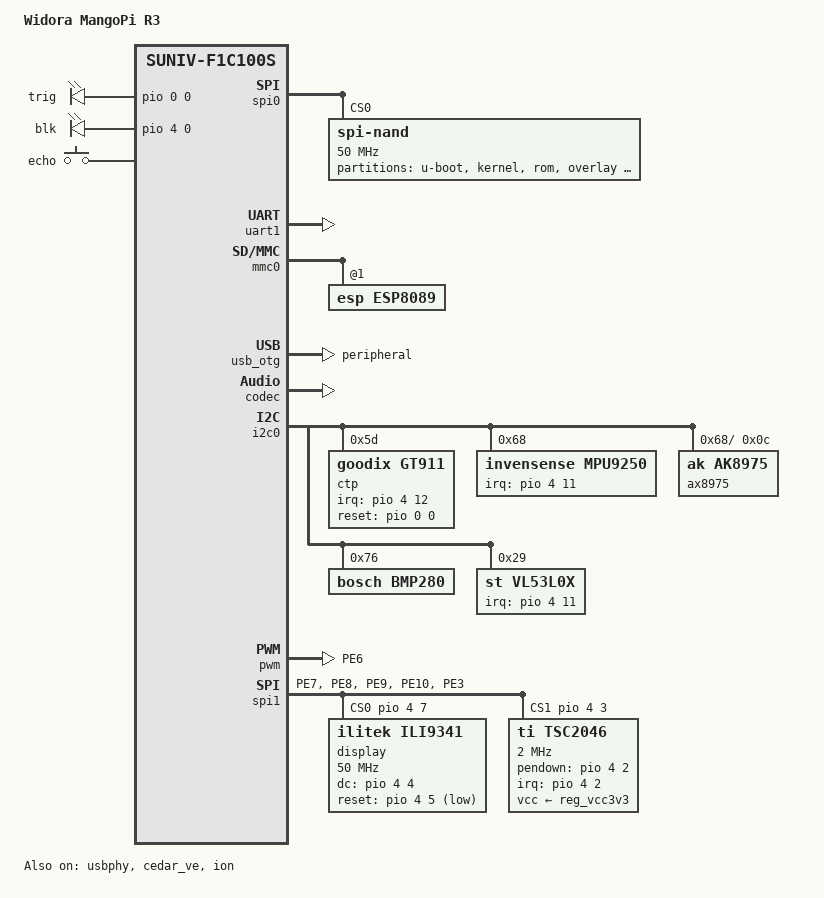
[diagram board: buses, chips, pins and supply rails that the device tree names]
// SPDX-License-Identifier: (GPL-2.0+ OR X11)

/dts-v1/;
#include "suniv-f1c100s.dtsi"

/ {
	model = "Widora MangoPi R3";
	compatible = "allwinner,suniv-f1c200s",
			 "allwinner,suniv-f1c100s";

	chosen {
		#address-cells = <1>;
		#size-cells = <1>;
		ranges;

		bootargs = "console=ttyS0,115200 rootwait init=/preinit root=/dev/mtdblock2 rootfstype=squashfs overlayfsdev=/dev/mtdblock3";
/*
		simplefb_lcd: framebuffer-lcd0 {
			compatible = "allwinner,simple-framebuffer",
				     "simple-framebuffer";
			allwinner,pipeline = "de_be0-lcd0";
			clocks = <&ccu CLK_BUS_DE_BE>, <&ccu CLK_DE_BE>,
				 <&ccu CLK_DRAM_DE_BE>, <&ccu CLK_BUS_LCD>,
				 <&ccu CLK_TCON>;
			status = "disabled";
		};
*/
	};

	leds {
		compatible = "gpio-leds";

		trig {
			label = "trig";
			gpios = <&pio 0 0 GPIO_ACTIVE_HIGH>; //PA0
			default-state = "off";
		};

		blk {
			label = "blk";
			gpios = <&pio 4 0 GPIO_ACTIVE_HIGH>; //PA0
			default-state = "on";
		};
	};

	gpio-keys {
		compatible = "gpio-keys";
		#address-cells = <1>;
		#size-cells = <0>;
		autorepeat;

		switch@0 {
			label = "echo";
			linux,code = <103>;
			// pinctrl-names = "default";
			// pinctrl-0 = <&sr_irq>;
			interrupt-parent = <&pio>;
			interrupts = <4 1 IRQ_TYPE_EDGE_BOTH>;//PE1
		};
	};
/*
	backlight: backlight {
		compatible = "gpio-backlight";
		pinctrl-names = "default";
		pinctrl-0 = <&backlight_pins>;
		gpios = <&pio 4 0 GPIO_ACTIVE_HIGH>; // PE 0
		backlight-boot-on;
	};
*/
};

&spi0 {
	status = "okay";

	spi-nor@0 {
		#address-cells = <1>;
		#size-cells = <1>;
		compatible = "winbond,w25q128", "jedec,spi-nor";
		reg = <0>;
		spi-max-frequency = <50000000>;
		status = "disabled";

		partitions {
			compatible = "fixed-partitions";
			#address-cells = <1>;
			#size-cells = <1>;

			partition@0 {
				label = "u-boot";
				reg = <0x000000 0x70000>;
				read-only;
			};

			partition@1 {
				label = "kernel";
				reg = <0x70000 0x590000>;
				read-only;
			};

			partition@2 {
				label = "rom";
				reg = <0x600000 0x700000>;
				read-only;
			};

			partition@3 {
				label = "overlay";
				reg = <0xd00000 0x300000>;
			};
		};
	};

	spi-nand@0 {
		#address-cells = <1>;
		#size-cells = <1>;
		compatible = "spi-nand";
		reg = <0>;
		spi-max-frequency = <50000000>;
		status = "okay";

		partitions {
			compatible = "fixed-partitions";
			#address-cells = <1>;
			#size-cells = <1>;

			partition@0 {
				label = "u-boot";
				reg = <0x000000 0x100000>;
				read-only;
			};

			partition@1 {
				label = "kernel";
				reg = <0x100000 0x500000>;
				read-only;
			};

			partition@2 {
				label = "rom";
				reg = <0x600000 0x2a00000>;
				read-only;
			};

			partition@3 {
				label = "overlay";
				reg = <0x3000000 0x1000000>;
			};

			partition@4 {
				label = "udisk";
				reg = <0x4000000 0x4000000>;
			};
		};
	};
};

&uart1 {
	pinctrl-names = "default";
	pinctrl-0 = <&uart1_pa_pins>;
	status = "okay";
};

&mmc0 {
	status = "okay";
	broken-cd;

	esp8089: sdio_wifi@1 {
		compatible = "esp,esp8089";
		reg = <1>;
		esp,crystal-26M-en = <2>;
	};
};

&otg_sram {
	status = "okay";
};

&usb_otg {
	dr_mode = "peripheral"; /* host peripheral */
	status = "okay";
};

&usbphy {
	status = "okay";
};

&cedar_ve {
	status = "okay";
};

&ion {
	status = "okay";
};

&codec {
	allwinner,audio-routing =
		"Headphone", "HP",
		"Headphone", "HPCOM",
		"LINEIN", "Line In",
		"FMINL", "Left FM In",
		"FMINR", "Right FM In",
		"MIC", "Mic";
	status = "okay";
};

&i2c0 {
	pinctrl-names = "default";
	pinctrl-0 = <&i2c0_pd_pins>;
	status = "okay";

	rtp@48 {
		compatible = "ti,tsc2007";
		reg = <0x48>;
		interrupt-parent = <&pio>;
		interrupts = <4 12 IRQ_TYPE_EDGE_FALLING>;
		gpios = <&pio 4 12 GPIO_ACTIVE_LOW>;
		pendown-gpio = <&pio 4 12 GPIO_ACTIVE_LOW>;
		ti,x-plate-ohms = <660>;
		wakeup-source;
		status = "disabled";
	};

	ctp@5d {
		compatible = "goodix,gt911";
		reg = <0x5d>;
		interrupt-parent = <&pio>;
		interrupts = <4 12 IRQ_TYPE_EDGE_FALLING>; // PE12
		irq-gpios = <&pio 4 12 GPIO_ACTIVE_HIGH>; // PE12
		reset-gpios = <&pio 0 0 GPIO_ACTIVE_HIGH>; // PA0
	};

	mpu9250: imu@68 {
		compatible = "invensense,mpu9250";
		reg = <0x68>;
		status = "okay";
		interrupt-parent = <&pio>;
		interrupts = <4 11 IRQ_TYPE_EDGE_RISING>;
		i2c-gate {
			#address-cells = <1>;
			#size-cells = <0>;
			ax8975@c {
				compatible = "ak,ak8975";
				reg = <0x0c>;
			};
		};
		/*invensense,int_config = <0x10>;
		invensense,level_shifter = <0>;
		invensense,orientation = [01 00 00 00 01 00 00 00 01];
		invensense,sec_slave_type = <0>;
		invensense,key = [4e cc 7e eb f6 1e 35 22 00 34 0d 65 32 e9 94 89];*/
	};

	bmp280: pressure@76 {
		compatible = "bosch,bmp280";
		reg = <0x76>;
	};

	vl53l0x@29 {
		compatible = "st,vl53l0x";
		reg = <0x29>;
		interrupt-parent = <&pio>;
		interrupts = <4 11 IRQ_TYPE_EDGE_FALLING>;
	};
};

&pio {
	spi1_pins: spi1-pins-pa {
		pins = "PE7", "PE8", "PE9", "PE10";
		function = "spi1";
	};

	spi1_pins_cs1: spi0_pins_cs1 {
		pins = "PE7", "PE3";
		function = "gpio_out";
	};

	pwm1_pin: pwm1@0 {
		pins = "PE6";
		function = "pwm1";
		drive-strength = <30>;
		bias-pull-up;
	};

	t_irq: t_irq-pins {
		pins = "PE2";
		function = "gpio_in";
	};

	sr_irq: sr_04-pins {
		pins = "PE1";
		function = "gpio_in";
	};
/*
	backlight_pins: backlight-pins {
		pins = "PE0";
		function = "gpio_out";
		drive-strength = <30>;
	};
*/
};

&pwm {
	pinctrl-names = "default";
	pinctrl-0 = <&pwm1_pin>;
	status = "okay";
};

&spi1 {
	#address-cells = <1>;
	#size-cells = <0>;
	pinctrl-names = "default";
	pinctrl-0 = <&spi1_pins &spi1_pins_cs1>;
	spi-num-chipselects = <2>;
	cs-gpios = <&pio 4 7 GPIO_ACTIVE_HIGH>, <&pio 4 3 GPIO_ACTIVE_HIGH>;
	status = "okay";

	display@0 {
		compatible = "ilitek,ili9341";
		reg = <0>;
		status = "okay";
		spi-max-frequency = <50000000>;
		rotate = <90>;
		bgr;
		fps = <30>;
		buswidth = <8>;
		dc-gpios = <&pio 4 4 GPIO_ACTIVE_HIGH>; //PE4
		reset-gpios = <&pio 4 5 GPIO_ACTIVE_LOW>; //PE5
		debug = <0>;
//		backlight = <&backlight>;
	};

	tsc2046@1 {
		reg = <1>;	/* CS1 */
		compatible = "ti,tsc2046";
		pinctrl-names = "default";
		pinctrl-0 = <&t_irq>;
		interrupt-parent = <&pio>;
		interrupts = <4 2 IRQ_TYPE_EDGE_FALLING>;	//PE2
		spi-max-frequency = <2000000>;
		pendown-gpio = <&pio 4 2 GPIO_ACTIVE_HIGH>;
		vcc-supply = <&reg_vcc3v3>;

		ti,x-min = /bits/ 16 <0>;
		ti,x-max = /bits/ 16 <320>;
		ti,y-min = /bits/ 16 <0>;
		ti,y-max = /bits/ 16 <240>;
		ti,x-plate-ohms = /bits/ 16 <40>;
		ti,pressure-max = /bits/ 16 <255>;

		wakeup-source;
		status = "okay";
	};
};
